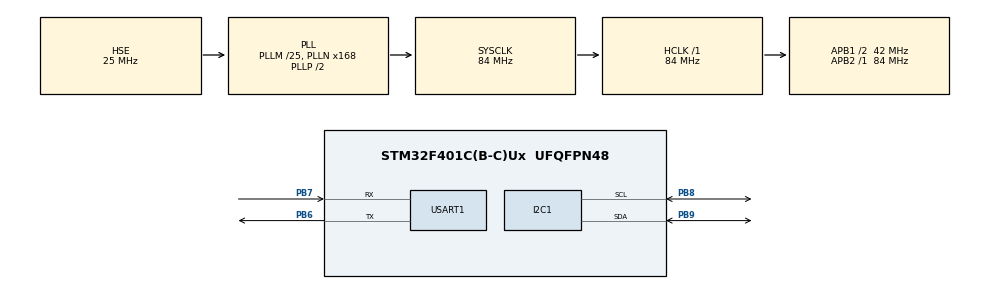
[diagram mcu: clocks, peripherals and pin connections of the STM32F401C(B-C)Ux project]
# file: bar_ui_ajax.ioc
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FREERTOS.BinarySemaphores01=first_iter,Dynamic,NULL
FREERTOS.CountingSemaphores01=MEANING_SEM,5,Dynamic,NULL
FREERTOS.Mutexes01=mutex,Dynamic,NULL
FREERTOS.Tasks01=task_take_raw_s,24,1000,start_task_take_raw_s,Default,NULL,Dynamic,NULL,NULL;task_showing,8,1000,start_task_showing,Default,NULL,Dynamic,NULL,NULL
FREERTOS.configTICK_RATE_HZ=500
FREERTOS.configUSE_NEWLIB_REENTRANT=1
Mcu.Family=STM32F4
Mcu.Name=STM32F401C(B-C)Ux
Mcu.Package=UFQFPN48
NVIC.PriorityGroup=NVIC_PRIORITYGROUP_4
PA13.Mode=Serial_Wire
PA13.Signal=SYS_JTMS-SWDIO
PA14.Mode=Serial_Wire
PA14.Signal=SYS_JTCK-SWCLK
PB6.Mode=Asynchronous
PB6.Signal=USART1_TX
PB7.Mode=Asynchronous
PB7.Signal=USART1_RX
PB8.Mode=I2C
PB8.Signal=I2C1_SCL
PB9.Mode=I2C
PB9.Signal=I2C1_SDA
PH0\ -\ OSC_IN.Mode=HSE-External-Oscillator
PH0\ -\ OSC_IN.Signal=RCC_OSC_IN
PH1\ -\ OSC_OUT.Mode=HSE-External-Oscillator
PH1\ -\ OSC_OUT.Signal=RCC_OSC_OUT
ProjectManager.HeapSize=0x200
ProjectManager.StackSize=0x400
ProjectManager.TargetToolchain=STM32CubeIDE
RCC.48MHZClocksFreq_Value=42000000
RCC.AHBFreq_Value=84000000
RCC.APB1CLKDivider=RCC_HCLK_DIV2
RCC.APB1Freq_Value=42000000
RCC.APB1TimFreq_Value=84000000
RCC.APB2Freq_Value=84000000
RCC.APB2TimFreq_Value=84000000
RCC.CortexFreq_Value=84000000
RCC.HCLKFreq_Value=84000000
RCC.HSE_VALUE=25000000
RCC.HSI_VALUE=16000000
RCC.LSE_VALUE=32768
RCC.PLLM=25
RCC.PLLN=168
RCC.PLLSourceVirtual=RCC_PLLSOURCE_HSE
RCC.SYSCLKFreq_VALUE=84000000
RCC.SYSCLKSource=RCC_SYSCLKSOURCE_PLLCLK
RCC.VCOOutputFreq_Value=168000000
USART1.VirtualMode=VM_ASYNC
VP_FREERTOS_VS_CMSIS_V2.Mode=CMSIS_V2
board=custom

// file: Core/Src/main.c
/* USER CODE BEGIN Header */
/**
  ******************************************************************************
  * @file           : main.c
  * @brief          : Main program body
  ******************************************************************************
  * @attention
  *
  * Copyright (c) 2022 STMicroelectronics.
  * All rights reserved.
  *
  * This software is licensed under terms that can be found in the LICENSE file
  * in the root directory of this software component.
  * If no LICENSE file comes with this software, it is provided AS-IS.
  *
  ******************************************************************************
  */
/* USER CODE END Header */
#include "main.h"
#include "cmsis_os.h"

/* USER CODE BEGIN Includes */
#include <stdio.h>
#include <string.h>
#include "baro.h"
#include <malloc.h>
/* USER CODE END Includes */

/* USER CODE BEGIN PM */
#define countof(_a) (sizeof(_a)/sizeof(_a[0]))
/* USER CODE END PM */

I2C_HandleTypeDef hi2c1;

UART_HandleTypeDef huart1;

/* Definitions for task_take_raw_s */
osThreadId_t task_take_raw_sHandle;
const osThreadAttr_t task_take_raw_s_attributes = {
  .name = "task_take_raw_s",
  .stack_size = 1000 * 4,
  .priority = (osPriority_t) osPriorityNormal,
};
/* Definitions for task_showing */
osThreadId_t task_showingHandle;
const osThreadAttr_t task_showing_attributes = {
  .name = "task_showing",
  .stack_size = 1000 * 4,
  .priority = (osPriority_t) osPriorityLow,
};
/* Definitions for mutex */
osMutexId_t mutexHandle;
const osMutexAttr_t mutex_attributes = {
  .name = "mutex"
};
/* Definitions for first_iter */
osSemaphoreId_t first_iterHandle;
const osSemaphoreAttr_t first_iter_attributes = {
  .name = "first_iter"
};
/* Definitions for MEANING_SEM */
osSemaphoreId_t MEANING_SEMHandle;
const osSemaphoreAttr_t MEANING_SEM_attributes = {
  .name = "MEANING_SEM"
};
/* USER CODE BEGIN PV */

struct list
{
	struct list* prev;
	struct list* next;
	int32_t temp;
	int32_t pres;
};

struct list* begin = NULL;
struct list* end = NULL;

/* USER CODE END PV */

void SystemClock_Config(void);
static void MX_GPIO_Init(void);
static void MX_I2C1_Init(void);
static void MX_USART1_UART_Init(void);
void start_task_take_raw_s(void *argument);
void start_task_showing(void *argument);

/* USER CODE BEGIN 0 */
char text[100];

struct list* create_new_elem()
{
	struct list* new_elem = (struct list*)malloc(sizeof(struct list));
	if(begin == NULL)
	{
		begin = new_elem;
		end = new_elem;
		new_elem->prev = NULL;
		new_elem->next = NULL;
		return new_elem;
	}
	begin->next = new_elem;
	new_elem->prev = begin;
	new_elem->next = NULL;
	begin = new_elem;
	return begin;
}

struct list* delete_elem()
{
	if(begin == end)
	{
		free(end);
		begin = NULL;
		end = NULL;
		return NULL;
	}
	struct list* new_end = end->next;
	new_end->prev = NULL;
	free(end);
	end = new_end;
	return end;
}

/* USER CODE END 0 */

int main(void)
{

  /* MCU Configuration--------------------------------------------------------*/

  /* Reset of all peripherals, Initializes the Flash interface and the Systick. */
  HAL_Init();

  /* Configure the system clock */
  SystemClock_Config();

  /* Initialize all configured peripherals */
  MX_GPIO_Init();
  MX_I2C1_Init();
  MX_USART1_UART_Init();

  /* Init scheduler */
  osKernelInitialize();
  /* Create the mutex(es) */
  /* creation of mutex */
  mutexHandle = osMutexNew(&mutex_attributes);

  /* Create the semaphores(s) */
  /* creation of first_iter */
  first_iterHandle = osSemaphoreNew(1, 1, &first_iter_attributes);

  /* creation of MEANING_SEM */
  MEANING_SEMHandle = osSemaphoreNew(5, 5, &MEANING_SEM_attributes);

  /* Create the thread(s) */
  /* creation of task_take_raw_s */
  task_take_raw_sHandle = osThreadNew(start_task_take_raw_s, NULL, &task_take_raw_s_attributes);

  /* creation of task_showing */
  task_showingHandle = osThreadNew(start_task_showing, NULL, &task_showing_attributes);

  /* Start scheduler */
  osKernelStart();

  /* We should never get here as control is now taken by the scheduler */
  /* Infinite loop */
  while (1)
  {

  }
}

void SystemClock_Config(void)
{
  RCC_OscInitTypeDef RCC_OscInitStruct = {0};
  RCC_ClkInitTypeDef RCC_ClkInitStruct = {0};

  /** Configure the main internal regulator output voltage
  */
  __HAL_RCC_PWR_CLK_ENABLE();
  __HAL_PWR_VOLTAGESCALING_CONFIG(PWR_REGULATOR_VOLTAGE_SCALE2);

  /** Initializes the RCC Oscillators according to the specified parameters
  * in the RCC_OscInitTypeDef structure.
  */
  RCC_OscInitStruct.OscillatorType = RCC_OSCILLATORTYPE_HSE;
  RCC_OscInitStruct.HSEState = RCC_HSE_ON;
  RCC_OscInitStruct.PLL.PLLState = RCC_PLL_ON;
  RCC_OscInitStruct.PLL.PLLSource = RCC_PLLSOURCE_HSE;
  RCC_OscInitStruct.PLL.PLLM = 25;
  RCC_OscInitStruct.PLL.PLLN = 168;
  RCC_OscInitStruct.PLL.PLLP = RCC_PLLP_DIV2;
  RCC_OscInitStruct.PLL.PLLQ = 4;
  if (HAL_RCC_OscConfig(&RCC_OscInitStruct) != HAL_OK)
  {
    Error_Handler();
  }

  /** Initializes the CPU, AHB and APB buses clocks
  */
  RCC_ClkInitStruct.ClockType = RCC_CLOCKTYPE_HCLK|RCC_CLOCKTYPE_SYSCLK
                              |RCC_CLOCKTYPE_PCLK1|RCC_CLOCKTYPE_PCLK2;
  RCC_ClkInitStruct.SYSCLKSource = RCC_SYSCLKSOURCE_PLLCLK;
  RCC_ClkInitStruct.AHBCLKDivider = RCC_SYSCLK_DIV1;
  RCC_ClkInitStruct.APB1CLKDivider = RCC_HCLK_DIV2;
  RCC_ClkInitStruct.APB2CLKDivider = RCC_HCLK_DIV1;

  if (HAL_RCC_ClockConfig(&RCC_ClkInitStruct, FLASH_LATENCY_2) != HAL_OK)
  {
    Error_Handler();
  }
}

static void MX_I2C1_Init(void)
{

  hi2c1.Instance = I2C1;
  hi2c1.Init.ClockSpeed = 100000;
  hi2c1.Init.DutyCycle = I2C_DUTYCYCLE_2;
  hi2c1.Init.OwnAddress1 = 0;
  hi2c1.Init.AddressingMode = I2C_ADDRESSINGMODE_7BIT;
  hi2c1.Init.DualAddressMode = I2C_DUALADDRESS_DISABLE;
  hi2c1.Init.OwnAddress2 = 0;
  hi2c1.Init.GeneralCallMode = I2C_GENERALCALL_DISABLE;
  hi2c1.Init.NoStretchMode = I2C_NOSTRETCH_DISABLE;
  if (HAL_I2C_Init(&hi2c1) != HAL_OK)
  {
    Error_Handler();
  }

}

static void MX_USART1_UART_Init(void)
{

  huart1.Instance = USART1;
  huart1.Init.BaudRate = 115200;
  huart1.Init.WordLength = UART_WORDLENGTH_8B;
  huart1.Init.StopBits = UART_STOPBITS_1;
  huart1.Init.Parity = UART_PARITY_NONE;
  huart1.Init.Mode = UART_MODE_TX_RX;
  huart1.Init.HwFlowCtl = UART_HWCONTROL_NONE;
  huart1.Init.OverSampling = UART_OVERSAMPLING_16;
  if (HAL_UART_Init(&huart1) != HAL_OK)
  {
    Error_Handler();
  }

}

static void MX_GPIO_Init(void)
{

  /* GPIO Ports Clock Enable */
  __HAL_RCC_GPIOH_CLK_ENABLE();
  __HAL_RCC_GPIOA_CLK_ENABLE();
  __HAL_RCC_GPIOB_CLK_ENABLE();

}

/* USER CODE BEGIN 4 */
//void HAL_GPIO_EXTI_Callback(uint16_t GPIO_Pin)
//{
//  //osSemaphoreRelease(semButtonPressedHandle);
//}

/* USER CODE END 4 */

void start_task_take_raw_s(void *argument)
{
  /* USER CODE BEGIN 5 */
	if(baro_init() != BARO_OK)
	{
		snprintf(text,countof(text),"Error initialization barometr\n");
		HAL_UART_Transmit(&huart1,(uint8_t*)text, strnlen(text,countof(text)),1000);
		while(1){}
	}
	osSemaphoreAcquire(first_iterHandle,osWaitForever);
   /* Infinite loop */
   for(;;)
   {
	   osMutexAcquire(mutexHandle,osWaitForever);
	   osStatus_t val = osSemaphoreAcquire(MEANING_SEMHandle,10U);
	   if(val != osOK)
	   {
		   osMutexRelease(mutexHandle);
		   osDelay(pdMS_TO_TICKS(150));
		   continue;
	   }
	   struct list* lst = create_new_elem();
	   lst->temp = baro_read_temp();
	   lst->pres = baro_read_press();
	   osMutexRelease(mutexHandle);
   }
  /* USER CODE END 5 */
}

void start_task_showing(void *argument)
{
  /* USER CODE BEGIN start_task_showing */
  /* Infinite loop */
  for(;;)
  {
	 if(osSemaphoreRelease(first_iterHandle) == osErrorResource)
	 {
		osDelay(pdMS_TO_TICKS(150));
		continue;
	 }
	 osSemaphoreAcquire(first_iterHandle,osWaitForever);
	 osMutexAcquire(mutexHandle,osWaitForever);
	 if(osSemaphoreRelease(MEANING_SEMHandle) != osErrorResource)
	 	 {
		 	 snprintf(text,countof(text),"/*%ld.%02ld,%ld.%02ld*/\n",end->temp/100,end->temp%100,end->pres/100,end->pres%100);
		 	 HAL_UART_Transmit(&huart1, (uint8_t*)text, strnlen(text,countof(text)),1000);
		 	 delete_elem();
		 	 osMutexRelease(mutexHandle);
	 	 }
		 else
		 {
			 osMutexRelease(mutexHandle);
			 osDelay(pdMS_TO_TICKS(150));
		 }
  }
  /* USER CODE END start_task_showing */
}

void Error_Handler(void)
{
  __disable_irq();
  while (1)
  {
  }
}
